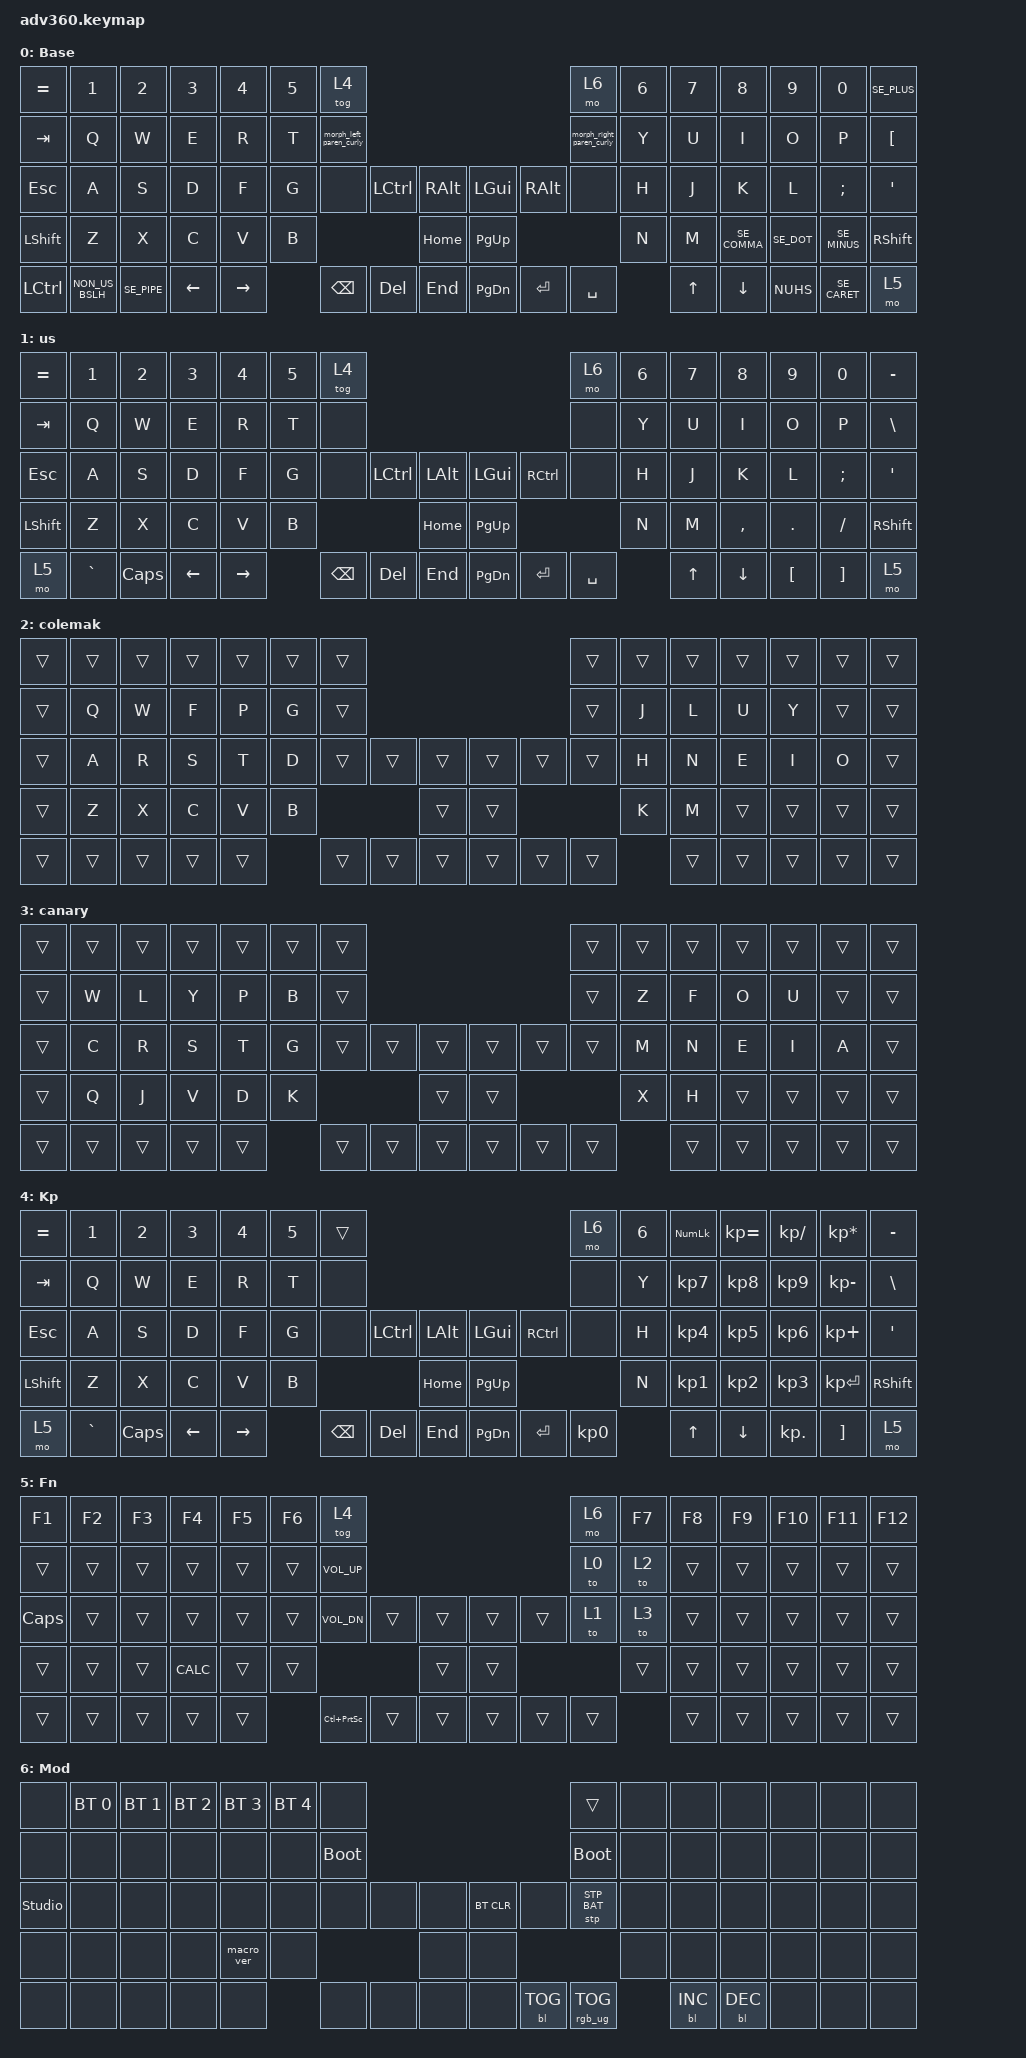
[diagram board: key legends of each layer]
#include <dt-bindings/zmk/stp.h>
#include "keys_se.h"
#include <behaviors.dtsi>
#include <dt-bindings/zmk/backlight.h>
#include <dt-bindings/zmk/bt.h>
#include <dt-bindings/zmk/keys.h>
#include <dt-bindings/zmk/rgb.h>

/ {
    behaviors {
        #include "macros.dtsi"
      #include "version.dtsi"

        hm: homerow_mods {
            compatible = "zmk,behavior-hold-tap";
            label = "HOMEROW_MODS";
            #binding-cells = <2>;
            tapping-term-ms = <200>;
            quick_tap_ms = <175>;
            flavor = "tap-preferred";
            bindings = <&kp>, <&kp>;
        };

        morph_left_paren_curly: morph_left_paren_curly {
            compatible = "zmk,behavior-mod-morph";
            label = "MORPH_LEFT_PAREN_CURLY";
            bindings = <&kp SE_LEFT_BRACE>, <&kp SE_LEFT_PARENTHESIS>;

            #binding-cells = <0>;
            mods = <(MOD_LSFT|MOD_RSFT)>;
        };

        morph_right_paren_curly: morph_right_paren_curly {
            compatible = "zmk,behavior-mod-morph";
            label = "MORPH_RIGHT_PAREN_CURLY";
            bindings = <&kp SE_RIGHT_BRACE>, <&kp SE_RIGHT_PARENTHESIS>;

            #binding-cells = <0>;
            mods = <(MOD_LSFT|MOD_RSFT)>;
        };
    };

    combos { compatible = "zmk,combos"; };

    keymap {
        compatible = "zmk,keymap";

        default_layer {
            display-name = "Base";
            bindings = <
&kp EQUAL  &kp N1           &kp N2       &kp N3    &kp N4     &kp N5  &tog 4                                                                  &mo 6                     &kp N6  &kp N7  &kp N8        &kp N9      &kp NUMBER_0  &kp SE_PLUS
&kp TAB    &kp Q            &kp W        &kp E     &kp R      &kp T   &morph_left_paren_curly                                                 &morph_right_paren_curly  &kp Y   &kp U   &kp I         &kp O       &kp P         &kp LBKT
&kp ESC    &kp A            &kp S        &kp D     &kp F      &kp G   &none                    &kp LCTRL  &kp RALT      &kp LGUI   &kp RALT   &none                     &kp H   &kp J   &kp K         &kp L       &kp SEMI      &kp SQT
&kp LSHFT  &kp Z            &kp X        &kp C     &kp V      &kp B                                       &kp HOME      &kp PG_UP                                       &kp N   &kp M   &kp SE_COMMA  &kp SE_DOT  &kp SE_MINUS  &kp RSHFT
&kp LCTRL  &kp NON_US_BSLH  &kp SE_PIPE  &kp LEFT  &kp RIGHT          &kp BSPC                 &kp DEL    &kp END       &kp PG_DN  &kp ENTER  &kp SPACE                         &kp UP  &kp DOWN      &kp NUHS    &kp SE_CARET  &mo 5
            >;
        };

        us-qwerty {
            display-name = "us";
            bindings = <
&kp EQUAL  &kp N1     &kp N2    &kp N3    &kp N4     &kp N5  &tog 4                                                   &mo 6      &kp N6  &kp N7  &kp N8     &kp N9    &kp N0    &kp MINUS
&kp TAB    &kp Q      &kp W     &kp E     &kp R      &kp T   &none                                                    &none      &kp Y   &kp U   &kp I      &kp O     &kp P     &kp BSLH
&kp ESC    &kp A      &kp S     &kp D     &kp F      &kp G   &none     &kp LCTRL  &kp LALT      &kp LGUI   &kp RCTRL  &none      &kp H   &kp J   &kp K      &kp L     &kp SEMI  &kp SQT
&kp LSHFT  &kp Z      &kp X     &kp C     &kp V      &kp B                        &kp HOME      &kp PG_UP                        &kp N   &kp M   &kp COMMA  &kp DOT   &kp FSLH  &kp RSHFT
&mo 5      &kp GRAVE  &kp CAPS  &kp LEFT  &kp RIGHT          &kp BSPC  &kp DEL    &kp END       &kp PG_DN  &kp ENTER  &kp SPACE          &kp UP  &kp DOWN   &kp LBKT  &kp RBKT  &mo 5
            >;
        };

        colemak {
            bindings = <
&trans  &trans  &trans  &trans  &trans  &trans  &trans                                      &trans  &trans  &trans  &trans  &trans  &trans  &trans
&trans  &kp Q   &kp W   &kp F   &kp P   &kp G   &trans                                      &trans  &kp J   &kp L   &kp U   &kp Y   &trans  &trans
&trans  &kp A   &kp R   &kp S   &kp T   &kp D   &trans  &trans  &trans      &trans  &trans  &trans  &kp H   &kp N   &kp E   &kp I   &kp O   &trans
&trans  &kp Z   &kp X   &kp C   &kp V   &kp B                   &trans      &trans                  &kp K   &kp M   &trans  &trans  &trans  &trans
&trans  &trans  &trans  &trans  &trans          &trans  &trans  &trans      &trans  &trans  &trans          &trans  &trans  &trans  &trans  &trans
            >;
        };

        canary {
            bindings = <
&trans  &trans  &trans  &trans  &trans  &trans  &trans                                      &trans  &trans  &trans  &trans  &trans  &trans  &trans
&trans  &kp W   &kp L   &kp Y   &kp P   &kp B   &trans                                      &trans  &kp Z   &kp F   &kp O   &kp U   &trans  &trans
&trans  &kp C   &kp R   &kp S   &kp T   &kp G   &trans  &trans  &trans      &trans  &trans  &trans  &kp M   &kp N   &kp E   &kp I   &kp A   &trans
&trans  &kp Q   &kp J   &kp V   &kp D   &kp K                   &trans      &trans                  &kp X   &kp H   &trans  &trans  &trans  &trans
&trans  &trans  &trans  &trans  &trans          &trans  &trans  &trans      &trans  &trans  &trans          &trans  &trans  &trans  &trans  &trans
            >;
        };

        keypad {
            display-name = "Kp";
            bindings = <
&kp EQUAL  &kp N1     &kp N2    &kp N3    &kp N4     &kp N5  &trans                                                   &mo 6      &kp N6  &kp KP_NUM  &kp KP_EQUAL  &kp KP_DIVIDE  &kp KP_MULTIPLY  &kp MINUS
&kp TAB    &kp Q      &kp W     &kp E     &kp R      &kp T   &none                                                    &none      &kp Y   &kp KP_N7   &kp KP_N8     &kp KP_N9      &kp KP_MINUS     &kp BSLH
&kp ESC    &kp A      &kp S     &kp D     &kp F      &kp G   &none     &kp LCTRL  &kp LALT      &kp LGUI   &kp RCTRL  &none      &kp H   &kp KP_N4   &kp KP_N5     &kp KP_N6      &kp KP_PLUS      &kp SQT
&kp LSHFT  &kp Z      &kp X     &kp C     &kp V      &kp B                        &kp HOME      &kp PG_UP                        &kp N   &kp KP_N1   &kp KP_N2     &kp KP_N3      &kp KP_ENTER     &kp RSHFT
&mo 5      &kp GRAVE  &kp CAPS  &kp LEFT  &kp RIGHT          &kp BSPC  &kp DEL    &kp END       &kp PG_DN  &kp ENTER  &kp KP_N0          &kp UP      &kp DOWN      &kp KP_DOT     &kp RBKT         &mo 5
            >;
        };

        fn {
            display-name = "Fn";
            bindings = <
&kp F1        &kp F2  &kp F3  &kp F4      &kp F5  &kp F6  &tog 4                                                   &mo 6   &kp F7  &kp F8  &kp F9  &kp F10  &kp F11  &kp F12
&trans        &trans  &trans  &trans      &trans  &trans  &kp C_VOLUME_UP                                          &to 0   &to 2   &trans  &trans  &trans   &trans   &trans
&kp CAPSLOCK  &trans  &trans  &trans      &trans  &trans  &kp C_VOL_DN         &trans  &trans      &trans  &trans  &to 1   &to 3   &trans  &trans  &trans   &trans   &trans
&trans        &trans  &trans  &kp K_CALC  &trans  &trans                               &trans      &trans                  &trans  &trans  &trans  &trans   &trans   &trans
&trans        &trans  &trans  &trans      &trans          &kp LC(PRINTSCREEN)  &trans  &trans      &trans  &trans  &trans          &trans  &trans  &trans   &trans   &trans
            >;
        };

        mod {
            display-name = "Mod";
            bindings = <
&none           &bt BT_SEL 0  &bt BT_SEL 1  &bt BT_SEL 2  &bt BT_SEL 3  &bt BT_SEL 4  &none                                                  &trans           &none  &none       &none       &none  &none  &none
&none           &none         &none         &none         &none         &none         &bootloader                                            &bootloader      &none  &none       &none       &none  &none  &none
&studio_unlock  &none         &none         &none         &none         &none         &none        &none  &none      &bt BT_CLR  &none       &stp STP_BAT     &none  &none       &none       &none  &none  &none
&none           &none         &none         &none         &macro_ver    &none                             &none      &none                                    &none  &none       &none       &none  &none  &none
&none           &none         &none         &none         &none                       &none        &none  &none      &none       &bl BL_TOG  &rgb_ug RGB_TOG         &bl BL_INC  &bl BL_DEC  &none  &none  &none
            >;
        };
    };
};
